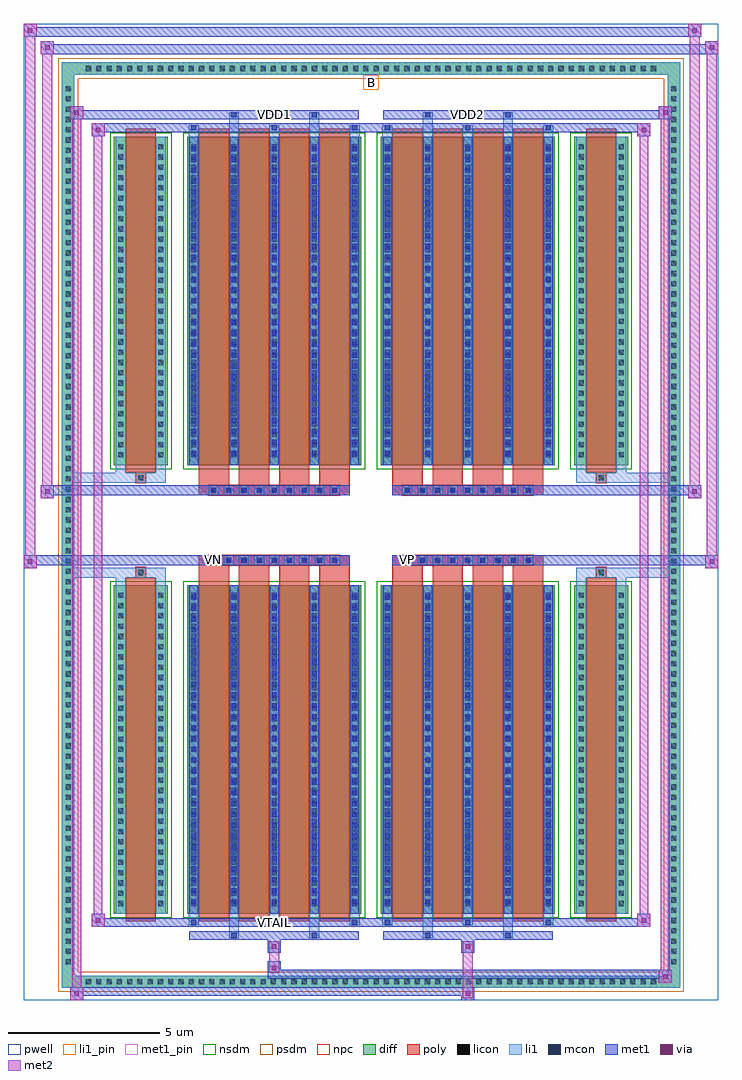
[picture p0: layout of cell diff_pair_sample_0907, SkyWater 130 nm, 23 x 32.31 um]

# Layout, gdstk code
import gdstk
lib = gdstk.Library(unit=1e-6, precision=5e-09)
def R(c, l, rs):  # rectangles x0, y0, x1, y1
    for r in rs: c.add(gdstk.rectangle(r[:2], r[2:], *l))
def A(c, l, x, y, w, h, nx, ny, dx, dy):  # array of equal rectangles
    R(c, l, [(x+i*dx, y+j*dy, x+i*dx+w, y+j*dy+h) for i in range(nx) for j in range(ny)])
def P(c, l, *ps):  # polygons
    for p in ps: c.add(gdstk.Polygon(p, *l))
pwell = (64, 44)
diff = (65, 20)
poly = (66, 20)
licon = (66, 44)
li1_pin = (67, 16)
li1 = (67, 20)
mcon = (67, 44)
met1_pin = (68, 16)
met1 = (68, 20)
via = (68, 44)
met2 = (69, 20)
nsdm = (93, 44)
psdm = (94, 20)
npc = (95, 20)

diff_pair_sample_0907 = lib.new_cell('diff_pair_sample_0907')
R(diff_pair_sample_0907, pwell, [(-11.5,-15.72,11.5,16.59), (-8.82,-13.91,-0.01,-0.795), (0.01,-13.91,8.82,-0.795), (-8.82,0.795,-0.01,13.91), (0.01,0.795,8.82,13.91)])
A(diff_pair_sample_0907, diff, -9.555, -15.32, 0.41, 0.41, 56, 2, 0.34, 30.23)
A(diff_pair_sample_0907, diff, -10.23, -14.655, 0.41, 0.41, 1, 86, 0, 0.34)
A(diff_pair_sample_0907, diff, 9.82, -14.655, 0.41, 0.41, 1, 86, 0, 0.34)
R(diff_pair_sample_0907, diff, [(-9.555,-15.32,9.555,-14.91), (-10.23,-14.655,-9.82,14.655), (9.82,-14.655,10.23,14.655), (-8.51,-12.865,-6.73,-1.985), (-6.09,-12.865,-0.32,-1.985), (0.32,-12.865,6.09,-1.985), (6.73,-12.865,8.51,-1.985), (-8.51,1.985,-6.73,12.865), (-6.09,1.985,-0.32,12.865), (0.32,1.985,6.09,12.865), (6.73,1.985,8.51,12.865), (-9.555,14.91,9.555,15.32)])
P(diff_pair_sample_0907, diff, [(10.23,15.32),(-10.23,15.32),(-10.23,-14.91),(-9.82,-14.91),(-9.82,14.91),(9.82,14.91),(9.82,-14.91),(-9.82,-14.91),(-10.23,-14.91),(-10.23,-15.32),(10.23,-15.32)])
A(diff_pair_sample_0907, poly, -5.7, -13.115, 1, 11.38, 4, 2, 1.33, 14.85)
A(diff_pair_sample_0907, poly, 0.71, -13.115, 1, 11.38, 4, 2, 1.33, 14.85)
A(diff_pair_sample_0907, poly, -5.7, -1.735, 1, 0.41, 4, 2, 1.33, 3.06)
A(diff_pair_sample_0907, poly, 0.71, -1.735, 1, 0.41, 4, 2, 1.33, 3.06)
A(diff_pair_sample_0907, poly, -5.37, -1.325, 0.33, 0.33, 9, 2, 0.5, 2.32)
A(diff_pair_sample_0907, poly, 1.04, -1.325, 0.33, 0.33, 9, 2, 0.5, 2.32)
R(diff_pair_sample_0907, poly, [(-8.12,-13.115,-7.12,-1.735), (7.12,-13.115,8.12,-1.735), (-7.785,-1.735,-7.455,-1.405), (-7.785,-1.735,-7.455,-1.405), (7.455,-1.735,7.785,-1.405), (7.455,-1.735,7.785,-1.405), (-5.7,-1.325,-0.71,-0.995), (0.71,-1.325,5.7,-0.995), (-5.7,0.995,-0.71,1.325), (0.71,0.995,5.7,1.325), (-7.785,1.405,-7.455,1.735), (-7.785,1.405,-7.455,1.735), (7.455,1.405,7.785,1.735), (7.455,1.405,7.785,1.735), (-8.12,1.735,-7.12,13.115), (7.12,1.735,8.12,13.115)])
A(diff_pair_sample_0907, licon, -9.435, -15.2, 0.17, 0.17, 56, 2, 0.34, 30.23)
A(diff_pair_sample_0907, licon, -10.11, -14.535, 0.17, 0.17, 1, 86, 0, 0.34)
A(diff_pair_sample_0907, licon, 9.94, -14.535, 0.17, 0.17, 1, 86, 0, 0.34)
A(diff_pair_sample_0907, licon, -8.37, -12.61, 0.17, 0.17, 1, 31, 0, 0.34)
A(diff_pair_sample_0907, licon, -7.04, -12.61, 0.17, 0.17, 1, 31, 0, 0.34)
A(diff_pair_sample_0907, licon, -5.95, -12.61, 0.17, 0.17, 5, 31, 1.33, 0.34)
A(diff_pair_sample_0907, licon, 0.46, -12.61, 0.17, 0.17, 5, 31, 1.33, 0.34)
A(diff_pair_sample_0907, licon, 6.87, -12.61, 0.17, 0.17, 1, 31, 0, 0.34)
A(diff_pair_sample_0907, licon, 8.2, -12.61, 0.17, 0.17, 1, 31, 0, 0.34)
A(diff_pair_sample_0907, licon, -5.29, -1.245, 0.17, 0.17, 9, 2, 0.5, 2.32)
A(diff_pair_sample_0907, licon, 1.12, -1.245, 0.17, 0.17, 9, 2, 0.5, 2.32)
A(diff_pair_sample_0907, licon, -8.37, 2.24, 0.17, 0.17, 1, 31, 0, 0.34)
A(diff_pair_sample_0907, licon, -7.04, 2.24, 0.17, 0.17, 1, 31, 0, 0.34)
A(diff_pair_sample_0907, licon, -5.95, 2.24, 0.17, 0.17, 5, 31, 1.33, 0.34)
A(diff_pair_sample_0907, licon, 0.46, 2.24, 0.17, 0.17, 5, 31, 1.33, 0.34)
A(diff_pair_sample_0907, licon, 6.87, 2.24, 0.17, 0.17, 1, 31, 0, 0.34)
A(diff_pair_sample_0907, licon, 8.2, 2.24, 0.17, 0.17, 1, 31, 0, 0.34)
R(diff_pair_sample_0907, licon, [(-7.705,-1.655,-7.535,-1.485), (7.535,-1.655,7.705,-1.485), (-7.705,1.485,-7.535,1.655), (7.535,1.485,7.705,1.655)])
R(diff_pair_sample_0907, li1_pin, [(-0.25,14.41,0.25,14.91)])
A(diff_pair_sample_0907, li1, -9.515, -15.28, 0.33, 0.33, 56, 2, 0.34, 30.23)
A(diff_pair_sample_0907, li1, -10.19, -14.615, 0.33, 0.33, 1, 86, 0, 0.34)
A(diff_pair_sample_0907, li1, 9.86, -14.615, 0.33, 0.33, 1, 86, 0, 0.34)
A(diff_pair_sample_0907, li1, -6.03, -13.24, 0.33, 0.375, 3, 2, 2.66, 26.105)
A(diff_pair_sample_0907, li1, -5.95, -13.24, 0.17, 0.17, 3, 2, 2.66, 26.31)
A(diff_pair_sample_0907, li1, 0.38, -13.24, 0.33, 0.375, 3, 2, 2.66, 26.105)
A(diff_pair_sample_0907, li1, 0.46, -13.24, 0.17, 0.17, 3, 2, 2.66, 26.31)
A(diff_pair_sample_0907, li1, -6.03, -12.865, 0.33, 10.88, 5, 2, 1.33, 14.85)
A(diff_pair_sample_0907, li1, 0.38, -12.865, 0.33, 10.88, 5, 2, 1.33, 14.85)
A(diff_pair_sample_0907, li1, -8.45, -12.69, 0.33, 0.33, 1, 31, 0, 0.34)
A(diff_pair_sample_0907, li1, -7.12, -12.69, 0.33, 0.33, 1, 31, 0, 0.34)
A(diff_pair_sample_0907, li1, -6.03, -12.69, 0.33, 0.33, 5, 31, 1.33, 0.34)
A(diff_pair_sample_0907, li1, 0.38, -12.69, 0.33, 0.33, 5, 31, 1.33, 0.34)
A(diff_pair_sample_0907, li1, 6.79, -12.69, 0.33, 0.33, 1, 31, 0, 0.34)
A(diff_pair_sample_0907, li1, 8.12, -12.69, 0.33, 0.33, 1, 31, 0, 0.34)
A(diff_pair_sample_0907, li1, -5.95, -12.55, 0.17, 0.17, 5, 29, 1.33, 0.36)
A(diff_pair_sample_0907, li1, -5.95, -12.55, 0.17, 10.25, 5, 2, 1.33, 14.85)
A(diff_pair_sample_0907, li1, 0.46, -12.55, 0.17, 0.17, 5, 29, 1.33, 0.36)
A(diff_pair_sample_0907, li1, 0.46, -12.55, 0.17, 10.25, 5, 2, 1.33, 14.85)
A(diff_pair_sample_0907, li1, -5.37, -1.325, 0.33, 0.33, 9, 2, 0.5, 2.32)
A(diff_pair_sample_0907, li1, 1.04, -1.325, 0.33, 0.33, 9, 2, 0.5, 2.32)
A(diff_pair_sample_0907, li1, -8.45, 2.16, 0.33, 0.33, 1, 31, 0, 0.34)
A(diff_pair_sample_0907, li1, -7.12, 2.16, 0.33, 0.33, 1, 31, 0, 0.34)
A(diff_pair_sample_0907, li1, -6.03, 2.16, 0.33, 0.33, 5, 31, 1.33, 0.34)
A(diff_pair_sample_0907, li1, 0.38, 2.16, 0.33, 0.33, 5, 31, 1.33, 0.34)
A(diff_pair_sample_0907, li1, 6.79, 2.16, 0.33, 0.33, 1, 31, 0, 0.34)
A(diff_pair_sample_0907, li1, 8.12, 2.16, 0.33, 0.33, 1, 31, 0, 0.34)
A(diff_pair_sample_0907, li1, -5.95, 2.3, 0.17, 0.17, 5, 29, 1.33, 0.36)
A(diff_pair_sample_0907, li1, 0.46, 2.3, 0.17, 0.17, 5, 29, 1.33, 0.36)
R(diff_pair_sample_0907, li1, [(-10.23,-15.32,-9.82,-14.91), (-10.23,-15.32,-9.82,-14.91), (-9.82,-15.32,9.82,-14.91), (9.82,-15.32,10.23,-14.91), (9.82,-15.32,10.23,-14.91), (-10.23,-14.91,-9.82,14.91), (9.82,-14.91,10.23,14.91), (-4.7,-13.67,-4.37,-12.865), (-4.62,-13.67,-4.45,-13.5), (-2.04,-13.67,-1.71,-12.865), (-1.96,-13.67,-1.79,-13.5), (1.71,-13.67,2.04,-12.865), (1.79,-13.67,1.96,-13.5), (4.37,-13.67,4.7,-12.865), (4.45,-13.67,4.62,-13.5), (-8.45,-12.865,-8.12,-1.985), (-7.12,-12.865,-6.79,-1.985), (6.79,-12.865,7.12,-1.985), (8.12,-12.865,8.45,-1.985), (-8.45,-1.985,-8.12,-1.405), (-7.12,-1.985,-6.79,-1.405), (6.79,-1.985,7.12,-1.405), (8.12,-1.985,8.45,-1.405), (-10.23,-1.735,-7.785,-1.405), (-8.45,-1.735,-7.785,-1.405), (-7.785,-1.735,-7.455,-1.405), (-7.455,-1.735,-6.79,-1.405), (6.79,-1.735,7.455,-1.405), (7.455,-1.735,7.785,-1.405), (7.455,-1.735,10.23,-1.405), (7.785,-1.735,8.45,-1.405), (-10.23,1.405,-7.785,1.735), (-8.45,1.405,-7.785,1.735), (-8.45,1.405,-8.12,1.985), (-7.785,1.405,-7.455,1.735), (-7.455,1.405,-6.79,1.735), (-7.12,1.405,-6.79,1.985), (6.79,1.405,7.455,1.735), (6.79,1.405,7.12,1.985), (7.455,1.405,7.785,1.735), (7.455,1.405,10.23,1.735), (7.785,1.405,8.45,1.735), (8.12,1.405,8.45,1.985), (-8.45,1.985,-8.12,12.865), (-7.12,1.985,-6.79,12.865), (6.79,1.985,7.12,12.865), (8.12,1.985,8.45,12.865), (-4.7,12.865,-4.37,13.67), (-2.04,12.865,-1.71,13.67), (1.71,12.865,2.04,13.67), (4.37,12.865,4.7,13.67), (-4.62,13.5,-4.45,13.67), (-1.96,13.5,-1.79,13.67), (1.79,13.5,1.96,13.67), (4.45,13.5,4.62,13.67), (-10.23,14.91,-9.82,15.32), (-10.23,14.91,-9.82,15.32), (-9.82,14.91,9.82,15.32), (9.82,14.91,10.23,15.32), (9.82,14.91,10.23,15.32)])
A(diff_pair_sample_0907, mcon, -5.95, -13.24, 0.17, 0.17, 3, 2, 2.66, 26.31)
A(diff_pair_sample_0907, mcon, 0.46, -13.24, 0.17, 0.17, 3, 2, 2.66, 26.31)
A(diff_pair_sample_0907, mcon, -5.95, -12.55, 0.17, 0.17, 5, 29, 1.33, 0.36)
A(diff_pair_sample_0907, mcon, 0.46, -12.55, 0.17, 0.17, 5, 29, 1.33, 0.36)
A(diff_pair_sample_0907, mcon, -5.29, -1.245, 0.17, 0.17, 9, 2, 0.5, 2.32)
A(diff_pair_sample_0907, mcon, 1.12, -1.245, 0.17, 0.17, 9, 2, 0.5, 2.32)
A(diff_pair_sample_0907, mcon, -5.95, 2.3, 0.17, 0.17, 5, 29, 1.33, 0.36)
A(diff_pair_sample_0907, mcon, 0.46, 2.3, 0.17, 0.17, 5, 29, 1.33, 0.36)
R(diff_pair_sample_0907, mcon, [(-4.62,-13.67,-4.45,-13.5), (-1.96,-13.67,-1.79,-13.5), (1.79,-13.67,1.96,-13.5), (4.45,-13.67,4.62,-13.5), (-4.62,13.5,-4.45,13.67), (-1.96,13.5,-1.79,13.67), (1.79,13.5,1.96,13.67), (4.45,13.5,4.62,13.67)])
R(diff_pair_sample_0907, met1_pin, [(-3.34,-13.28,-3.07,-13.01), (-5.34,-1.285,-5.07,-1.015), (1.07,-1.285,1.34,-1.015), (-3.34,13.46,-3.07,13.73), (3.07,13.46,3.34,13.73)])
A(diff_pair_sample_0907, met1, -6.01, -13.3, 0.29, 0.29, 3, 2, 2.66, 26.31)
A(diff_pair_sample_0907, met1, 0.4, -13.3, 0.29, 0.29, 3, 2, 2.66, 26.31)
A(diff_pair_sample_0907, met1, -6.01, -12.865, 0.29, 10.88, 5, 2, 1.33, 14.85)
A(diff_pair_sample_0907, met1, 0.4, -12.865, 0.29, 10.88, 5, 2, 1.33, 14.85)
A(diff_pair_sample_0907, met1, -6.01, -12.61, 0.29, 0.29, 5, 29, 1.33, 0.36)
A(diff_pair_sample_0907, met1, 0.4, -12.61, 0.29, 0.29, 5, 29, 1.33, 0.36)
A(diff_pair_sample_0907, met1, -5.35, -1.305, 0.29, 0.29, 9, 2, 0.5, 2.32)
A(diff_pair_sample_0907, met1, 1.06, -1.305, 0.29, 0.29, 9, 2, 0.5, 2.32)
A(diff_pair_sample_0907, met1, -6.01, 2.24, 0.29, 0.29, 5, 29, 1.33, 0.36)
A(diff_pair_sample_0907, met1, 0.4, 2.24, 0.29, 0.29, 5, 29, 1.33, 0.36)
R(diff_pair_sample_0907, met1, [(-9.96,-15.72,-9.53,-15.29), (2.99,-15.72,3.42,-15.29), (-9.96,-15.58,3.42,-15.29), (9.53,-15.15,9.96,-14.72), (-3.42,-15.01,9.96,-14.72), (-3.42,-14.87,-2.99,-14.44), (-3.42,-14.16,-2.99,-13.73), (2.99,-14.16,3.42,-13.73), (-6.01,-13.73,-0.4,-13.44), (-4.68,-13.73,-4.39,-13.44), (-2.02,-13.73,-1.73,-13.44), (0.4,-13.73,6.01,-13.44), (1.73,-13.73,2.02,-13.44), (4.39,-13.73,4.68,-13.44), (-9.25,-13.3,-8.82,-12.87), (-9.25,-13.3,-6.01,-13.01), (-6.01,-13.3,-0.4,-13.01), (-0.4,-13.3,0.4,-13.01), (0.4,-13.3,6.01,-13.01), (6.01,-13.3,9.25,-13.01), (8.82,-13.3,9.25,-12.87), (-11.5,-1.425,-11.07,-0.995), (11.07,-1.425,11.5,-0.995), (-11.5,-1.325,-0.71,-0.995), (-5.7,-1.325,-0.71,-0.995), (0.71,-1.325,5.7,-0.995), (0.71,-1.325,11.5,-0.995), (-10.93,0.895,-10.5,1.325), (10.5,0.895,10.93,1.325), (-10.93,0.995,-5.7,1.325), (-5.7,0.995,-0.71,1.325), (0.71,0.995,5.7,1.325), (5.7,0.995,10.93,1.325), (-9.25,12.87,-8.82,13.3), (8.82,12.87,9.25,13.3), (-9.25,13.01,-6.01,13.3), (-6.01,13.01,-0.4,13.3), (-0.4,13.01,0.4,13.3), (0.4,13.01,6.01,13.3), (6.01,13.01,9.25,13.3), (-9.96,13.44,-9.53,13.87), (-9.96,13.44,-6.01,13.73), (-6.01,13.44,-0.4,13.73), (-4.68,13.44,-4.39,13.73), (-2.02,13.44,-1.73,13.73), (0.4,13.44,6.01,13.73), (1.73,13.44,2.02,13.73), (4.39,13.44,4.68,13.73), (6.01,13.44,9.96,13.73), (9.53,13.44,9.96,13.87), (-10.93,15.59,-10.5,16.02), (-10.93,15.59,-8.82,15.92), (-8.82,15.59,8.82,15.92), (8.82,15.59,11.5,15.92), (11.07,15.59,11.5,16.02), (-11.5,16.16,-11.07,16.59), (-11.5,16.16,-8.82,16.49), (-8.82,16.16,8.82,16.49), (8.82,16.16,10.93,16.49), (10.5,16.16,10.93,16.59)])
R(diff_pair_sample_0907, via, [(-9.82,-15.58,-9.67,-15.43), (3.13,-15.58,3.28,-15.43), (9.67,-15.01,9.82,-14.86), (-3.28,-14.73,-3.13,-14.58), (-3.28,-14.02,-3.13,-13.87), (3.13,-14.02,3.28,-13.87), (-9.11,-13.16,-8.96,-13.01), (8.96,-13.16,9.11,-13.01), (-11.36,-1.285,-11.21,-1.135), (11.21,-1.285,11.36,-1.135), (-10.79,1.035,-10.64,1.185), (10.64,1.035,10.79,1.185), (-9.11,13.01,-8.96,13.16), (8.96,13.01,9.11,13.16), (-9.82,13.58,-9.67,13.73), (9.67,13.58,9.82,13.73), (-10.79,15.73,-10.64,15.88), (11.21,15.73,11.36,15.88), (-11.36,16.3,-11.21,16.45), (10.64,16.3,10.79,16.45)])
R(diff_pair_sample_0907, met2, [(-9.96,-15.72,-9.53,-15.29), (-9.89,-15.72,-9.6,13.87), (-9.6,-15.72,-9.53,-15.29), (-9.91,-15.67,-9.58,-15.34), (3.04,-15.67,3.37,-15.34), (3.04,-15.34,3.37,-14.11), (9.53,-15.15,9.96,-14.72), (9.6,-15.15,9.89,13.87), (9.89,-15.15,9.96,-14.72), (9.58,-15.1,9.91,-14.77), (-3.37,-14.82,-3.04,-14.49), (-3.37,-14.49,-3.04,-14.11), (-3.37,-14.11,-3.04,-13.78), (3.04,-14.11,3.37,-13.78), (-9.25,-13.3,-8.82,-12.87), (-9.18,-13.3,-8.89,13.3), (-8.89,-13.3,-8.82,-12.87), (8.82,-13.3,9.25,-12.87), (8.89,-13.3,9.18,13.3), (9.18,-13.3,9.25,-12.87), (-9.2,-13.25,-8.87,-12.92), (8.87,-13.25,9.2,-12.92), (-11.5,-1.425,-11.07,-0.995), (-11.45,-1.425,-11.12,16.59), (-11.12,-1.425,-11.07,-0.995), (11.07,-1.425,11.5,-0.995), (11.12,-1.425,11.45,16.02), (11.45,-1.425,11.5,-0.995), (-11.45,-1.375,-11.12,-1.045), (11.12,-1.375,11.45,-1.045), (-10.93,0.895,-10.5,1.325), (-10.88,0.895,-10.55,16.02), (-10.55,0.895,-10.5,1.325), (10.5,0.895,10.93,1.325), (10.55,0.895,10.88,16.59), (10.88,0.895,10.93,1.325), (-10.88,0.945,-10.55,1.275), (10.55,0.945,10.88,1.275), (-9.25,12.87,-8.82,13.3), (-8.89,12.87,-8.82,13.3), (8.82,12.87,9.25,13.3), (9.18,12.87,9.25,13.3), (-9.2,12.92,-8.87,13.25), (8.87,12.92,9.2,13.25), (-9.96,13.44,-9.53,13.87), (-9.6,13.44,-9.53,13.87), (9.53,13.44,9.96,13.87), (9.89,13.44,9.96,13.87), (-9.91,13.49,-9.58,13.82), (9.58,13.49,9.91,13.82), (-10.93,15.59,-10.5,16.02), (-10.55,15.59,-10.5,16.02), (11.07,15.59,11.5,16.02), (11.45,15.59,11.5,16.02), (-10.88,15.64,-10.55,15.97), (11.12,15.64,11.45,15.97), (-11.5,16.16,-11.07,16.59), (-11.12,16.16,-11.07,16.59), (10.5,16.16,10.93,16.59), (10.88,16.16,10.93,16.59), (-11.45,16.21,-11.12,16.54), (10.55,16.21,10.88,16.54)])
R(diff_pair_sample_0907, nsdm, [(-8.64,-12.995,-6.6,-1.855), (-6.22,-12.995,-0.19,-1.855), (0.19,-12.995,6.22,-1.855), (6.6,-12.995,8.64,-1.855), (-8.64,1.855,-6.6,12.995), (-6.22,1.855,-0.19,12.995), (0.19,1.855,6.22,12.995), (6.6,1.855,8.64,12.995)])
P(diff_pair_sample_0907, psdm, [(10.36,15.45),(-10.36,15.45),(-10.36,-14.78),(-9.69,-14.78),(-9.69,14.78),(9.69,14.78),(9.69,-14.78),(-9.69,-14.78),(-10.36,-14.78),(-10.36,-15.45),(10.36,-15.45)])
A(diff_pair_sample_0907, npc, -5.39, -1.345, 0.37, 0.37, 9, 2, 0.5, 2.32)
A(diff_pair_sample_0907, npc, 1.02, -1.345, 0.37, 0.37, 9, 2, 0.5, 2.32)
R(diff_pair_sample_0907, npc, [(-7.805,-1.755,-7.435,-1.385), (7.435,-1.755,7.805,-1.385), (-5.39,-1.345,-4.52,-0.975), (-5.39,-1.345,-4.52,-0.975), (-4.89,-1.345,-4.02,-0.975), (-4.89,-1.345,-4.02,-0.975), (-4.39,-1.345,-3.52,-0.975), (-4.39,-1.345,-3.52,-0.975), (-3.89,-1.345,-3.02,-0.975), (-3.89,-1.345,-3.02,-0.975), (-3.39,-1.345,-2.52,-0.975), (-3.39,-1.345,-2.52,-0.975), (-2.89,-1.345,-2.02,-0.975), (-2.89,-1.345,-2.02,-0.975), (-2.39,-1.345,-1.52,-0.975), (-2.39,-1.345,-1.52,-0.975), (-1.89,-1.345,-1.02,-0.975), (-1.89,-1.345,-1.02,-0.975), (1.02,-1.345,1.89,-0.975), (1.02,-1.345,1.89,-0.975), (1.52,-1.345,2.39,-0.975), (1.52,-1.345,2.39,-0.975), (2.02,-1.345,2.89,-0.975), (2.02,-1.345,2.89,-0.975), (2.52,-1.345,3.39,-0.975), (2.52,-1.345,3.39,-0.975), (3.02,-1.345,3.89,-0.975), (3.02,-1.345,3.89,-0.975), (3.52,-1.345,4.39,-0.975), (3.52,-1.345,4.39,-0.975), (4.02,-1.345,4.89,-0.975), (4.02,-1.345,4.89,-0.975), (4.52,-1.345,5.39,-0.975), (4.52,-1.345,5.39,-0.975), (-5.39,0.975,-4.52,1.345), (-5.39,0.975,-4.52,1.345), (-4.89,0.975,-4.02,1.345), (-4.89,0.975,-4.02,1.345), (-4.39,0.975,-3.52,1.345), (-4.39,0.975,-3.52,1.345), (-3.89,0.975,-3.02,1.345), (-3.89,0.975,-3.02,1.345), (-3.39,0.975,-2.52,1.345), (-3.39,0.975,-2.52,1.345), (-2.89,0.975,-2.02,1.345), (-2.89,0.975,-2.02,1.345), (-2.39,0.975,-1.52,1.345), (-2.39,0.975,-1.52,1.345), (-1.89,0.975,-1.02,1.345), (-1.89,0.975,-1.02,1.345), (1.02,0.975,1.89,1.345), (1.02,0.975,1.89,1.345), (1.52,0.975,2.39,1.345), (1.52,0.975,2.39,1.345), (2.02,0.975,2.89,1.345), (2.02,0.975,2.89,1.345), (2.52,0.975,3.39,1.345), (2.52,0.975,3.39,1.345), (3.02,0.975,3.89,1.345), (3.02,0.975,3.89,1.345), (3.52,0.975,4.39,1.345), (3.52,0.975,4.39,1.345), (4.02,0.975,4.89,1.345), (4.02,0.975,4.89,1.345), (4.52,0.975,5.39,1.345), (4.52,0.975,5.39,1.345), (-7.805,1.385,-7.435,1.755), (7.435,1.385,7.805,1.755)])
diff_pair_sample_0907.add(gdstk.Label('VTAIL', (-3.205,-13.145), layer=68, texttype=5))
diff_pair_sample_0907.add(gdstk.Label('VN', (-5.205,-1.15), layer=68, texttype=5))
diff_pair_sample_0907.add(gdstk.Label('VP', (1.205,-1.15), layer=68, texttype=5))
diff_pair_sample_0907.add(gdstk.Label('B', (0,14.66), layer=67, texttype=5))
diff_pair_sample_0907.add(gdstk.Label('VDD2', (3.205,13.595), layer=68, texttype=5))
diff_pair_sample_0907.add(gdstk.Label('VDD1', (-3.205,13.595), layer=68, texttype=5))

lib.write_gds('diff_pair_sample_0907.gds')
